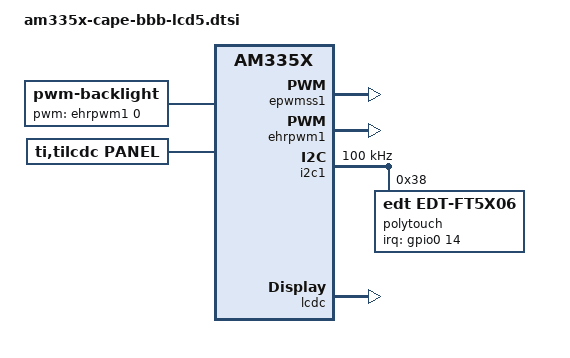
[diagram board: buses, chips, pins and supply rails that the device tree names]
/*
 * Copyright (C) 2012 Texas Instruments Incorporated - http://www.ti.com/
 *
 * This program is free software; you can redistribute it and/or modify
 * it under the terms of the GNU General Public License version 2 as
 * published by the Free Software Foundation.
 */

#include <dt-bindings/board/am335x-bbw-bbb-base.h>

// ToDo Problem when muxing UART1 and Follatech touchscreen
//#include "am335x-peripheral-ttyS1.dtsi"
//#include "am335x-bone-pinmux-ttyS1.dtsi"

#include "am335x-peripheral-ttyS2.dtsi"
#include "am335x-bone-pinmux-ttyS2.dtsi"

#include "am335x-peripheral-ttyS4.dtsi"
#include "am335x-bone-pinmux-ttyS4.dtsi"

&am33xx_pinmux {

	bb_lcd_pwm_backlight_pins: pinmux_bb_lcd_pwm_backlight_pins {
		pinctrl-single,pins = <
			BONE_P9_14 (PIN_OUTPUT_PULLDOWN | MUX_MODE6) /* gpmc_a2.ehrpwm1a */
		>;
	};

	bb_i2c1_pins: pinmux_bb_i2c1_pins {
		pinctrl-single,pins = <
			0x158 0x72	// spi0_d1.i2c1_sda, SLEWCTRL_SLOW | INPUT_PULLUP | MODE2
			0x15C 0x72	// spi0_cs0.i2c1_scl, SLEWCTRL_SLOW | INPUT_PULLUP | MODE2
		>;
	};

	edt_ft5x06_pins: pinmux_edt_ft5x06_pins {
		pinctrl-single,pins = <
			0x180 0x37	// INPUT_PULLUP | MODE7
		>;
	};
};


&epwmss1 {
	status = "okay";
};


&ehrpwm1 {
	pinctrl-names = "default";
	pinctrl-0 = <&bb_lcd_pwm_backlight_pins>;
	status = "okay";
};

&i2c1 {
	status = "okay";
	pinctrl-names = "default";
	pinctrl-0 = <&bb_i2c1_pins>;

	// configuration start
	clock-frequency = <100000>;

	#address-cells = <1>;
	#size-cells = <0>;

	polytouch: edt-ft5x06@38 {
		compatible = "edt,edt-ft5x06";
		reg = <0x38>;
		pinctrl-names = "default";
		pinctrl-0 = <&edt_ft5x06_pins>;
		interrupt-parent = <&gpio0>;
		interrupts = <14 2>;

		touchscreen-size-y = <800>;
		touchscreen-size-x = <480>;

		touchscreen-swapped-x-y;
		touchscreen-inverted-x;
	};

};

/ {
	backlight {
		status = "okay";
		compatible = "pwm-backlight";
		pwms = <&ehrpwm1 0 500000 0>;
		brightness-levels = <
			0  1  2  3  4  5  6  7  8  9
			10 11 12 13 14 15 16 17 18 19
			20 21 22 23 24 25 26 27 28 29
			30 31 32 33 34 35 36 37 38 39
			40 41 42 43 44 45 46 47 48 49
			50 51 52 53 54 55 56 57 58 59
			60 61 62 63 64 65 66 67 68 69
			70 71 72 73 74 75 76 77 78 79
			80 81 82 83 84 85 86 87 88 89
			90 91 92 93 94 95 96 97 98 99
			100
		>;
		default-brightness-level = <100>;
	};
};

&lcdc {
	status = "okay";
};


&am33xx_pinmux {
	lcd_24bit_pins: pinmux_lcd_24bit_pins {
		pinctrl-single,pins = <

			BONE_P8_45 (PIN_OUTPUT | MUX_MODE0) /* lcd: lcd_data0.lcd_data0 */
			BONE_P8_46 (PIN_OUTPUT | MUX_MODE0) /* lcd: lcd_data1.lcd_data1 */
			BONE_P8_43 (PIN_OUTPUT | MUX_MODE0) /* lcd: lcd_data2.lcd_data2 */
			BONE_P8_44 (PIN_OUTPUT | MUX_MODE0) /* lcd: lcd_data3.lcd_data3 */
			BONE_P8_41 (PIN_OUTPUT | MUX_MODE0) /* lcd: lcd_data4.lcd_data4 */
			BONE_P8_42 (PIN_OUTPUT | MUX_MODE0) /* lcd: lcd_data5.lcd_data5 */
			BONE_P8_39 (PIN_OUTPUT | MUX_MODE0) /* lcd: lcd_data6.lcd_data6 */
			BONE_P8_40 (PIN_OUTPUT | MUX_MODE0) /* lcd: lcd_data7.lcd_data7 */
			BONE_P8_37 (PIN_OUTPUT | MUX_MODE0) /* lcd: lcd_data8.lcd_data8 */
			BONE_P8_38 (PIN_OUTPUT | MUX_MODE0) /* lcd: lcd_data9.lcd_data9 */
			BONE_P8_36 (PIN_OUTPUT | MUX_MODE0) /* lcd: lcd_data10.lcd_data10 */
			BONE_P8_34 (PIN_OUTPUT | MUX_MODE0) /* lcd: lcd_data11.lcd_data11 */
			BONE_P8_35 (PIN_OUTPUT | MUX_MODE0) /* lcd: lcd_data12.lcd_data12 */
			BONE_P8_33 (PIN_OUTPUT | MUX_MODE0) /* lcd: lcd_data13.lcd_data13 */
			BONE_P8_31 (PIN_OUTPUT | MUX_MODE0) /* lcd: lcd_data14.lcd_data14 */
			BONE_P8_32 (PIN_OUTPUT | MUX_MODE0) /* lcd: lcd_data15.lcd_data15 */

			BONE_P8_27 (PIN_OUTPUT | MUX_MODE0) /* lcd: lcd_vsync.lcd_vsync */
			BONE_P8_29 (PIN_OUTPUT | MUX_MODE0) /* lcd: lcd_hsync.lcd_hsync */
			BONE_P8_28 (PIN_OUTPUT | MUX_MODE0) /* lcd: lcd_pclk.lcd_pclk */
			BONE_P8_30 (PIN_OUTPUT | MUX_MODE0) /* lcd: lcd_ac_bias_en.lcd_ac_bias_en */

			0x1a4 0x17	/* mcasp0_fsr.gpio3_19, OUTPUT | MODE7  LCD DISEN */
		>;
	};
};


/ {
	panel {
		status = "okay";
		compatible = "ti,tilcdc,panel";
		pinctrl-names = "default";
		pinctrl-0 = <&lcd_24bit_pins>;
		panel-info {
			ac-bias           = <255>;
			ac-bias-intrpt    = <0>;
			dma-burst-sz      = <16>;
			bpp               = <16>;
			fdd               = <0x80>;
			sync-edge         = <0>;
			sync-ctrl         = <1>;
			raster-order      = <0>;
			fifo-th           = <0>;
		};
		display-timings {
			native-mode = <&timing0>;
			/* Settings for ThreeFive S9700RTWV35TR / LCD7 cape: */
			timing0: 800x480 {
				clock-frequency = <30000000>;
				hactive = <800>;
				vactive = <480>;
				hfront-porch = <40>;
				hback-porch = <40>;
				hsync-len = <48>;
				vback-porch = <30>;
				vfront-porch = <13>;
				vsync-len = <3>;
				hsync-active = <0>;
				vsync-active = <0>;
				de-active = <1>;
				pixelclk-active = <0>;
			};
		};
	};
};

